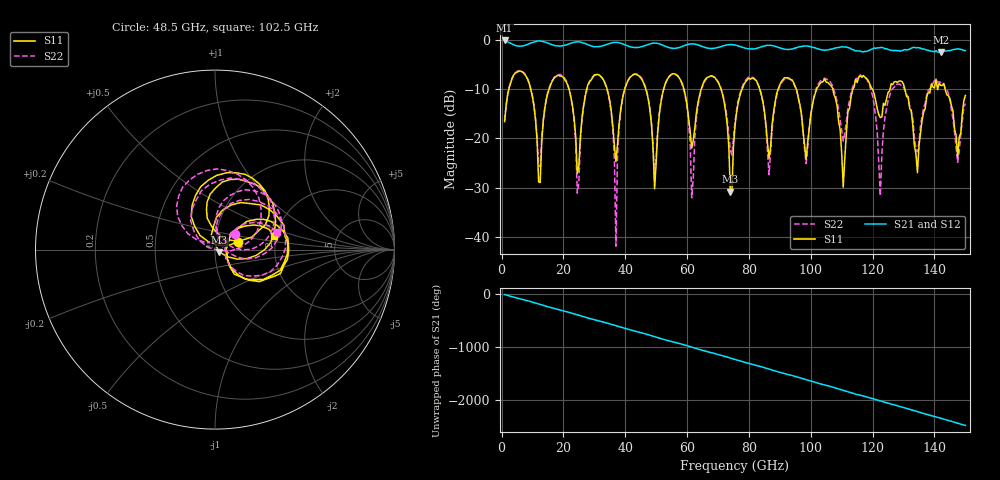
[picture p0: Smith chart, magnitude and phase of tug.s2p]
! hatab_megtron7_step30_7p5mm: multiline TRL calibrated (TUGMultilineTRL, scikit-rf 2.1.0)
! raw data ZiadHatab/verification-multiline-trl-calibration @ 021e735, mean of the repeated sweeps
! reference impedance: characteristic impedance of the 94 um 50 Ohm line,
! NOT 50 Ohm; the R value below is a placeholder required by the format
# Hz S RI R 50
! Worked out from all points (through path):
!   299 points, 1 GHz to 150 GHz, reference 50 ohm
!   highest |S21| = -0.17 dB at 1 GHz (marker M1); lowest = -2.5 dB at 142 GHz (marker M2)
!   group delay of S21, straight-line fit = 46 ps
!   lowest |S11| = -30.8 dB at 74 GHz (marker M3), VSWR 1.06, Z = 52.5 - j1.49 ohm
!   |S11| at or under -10 dB: 70.95 GHz to 77.82 GHz (6.872 GHz wide, 9.24 % of centre); 130.4 GHz to 138.7 GHz (8.333 GHz wide, 6.19 % of centre); 143.4 GHz to end of sweep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
!   |S22| runs from -41.9 to -6.3 dB; largest |S21 - S12| = 0.1
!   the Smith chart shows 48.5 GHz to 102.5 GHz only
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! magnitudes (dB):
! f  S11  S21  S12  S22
! 1 GHz  -16.6  -0.2  -0.2  -16.4
! 20 GHz  -7.7  -1.2  -1.2  -7.6
! 24.5 GHz  -27.2  -0.4  -0.5  -31.1
! 26 GHz  -15.9  -0.6  -0.6  -16.5
! 34 GHz  -9.7  -1.0  -1.0  -9.9
! 37 GHz  -24.7  -0.6  -0.6  -41.9
! 40 GHz  -9.7  -1.1  -1.1  -9.7
! 49.5 GHz  -30.2  -0.7  -0.7  -28.5
! 51 GHz  -15.3  -0.9  -0.9  -15.1
! 58 GHz  -8.3  -1.5  -1.5  -8.5
! 61.5 GHz  -22.0  -0.9  -0.9  -32.1
! 69 GHz  -7.7  -1.7  -1.8  -7.7
! 74 GHz  -30.8  -1.0  -1.0  -22.5
! 75.5 GHz  -17.5  -1.1  -1.1  -16.6
! 100.5 GHz  -13.4  -1.5  -1.6  -13.2
! 110.5 GHz  -29.9  -1.5  -1.5  -20.6
! 117.5 GHz  -7.6  -2.4  -2.4  -7.5
! 122.5 GHz  -15.8  -1.6  -1.7  -31.7
! 125.5 GHz  -10.4  -2.1  -2.1  -11.5
! 134.5 GHz  -27.0  -1.6  -1.6  -22.8
! 142 GHz  -9.3  -2.5  -2.6  -8.7
! 150 GHz  -11.3  -2.2  -2.3  -13.0
